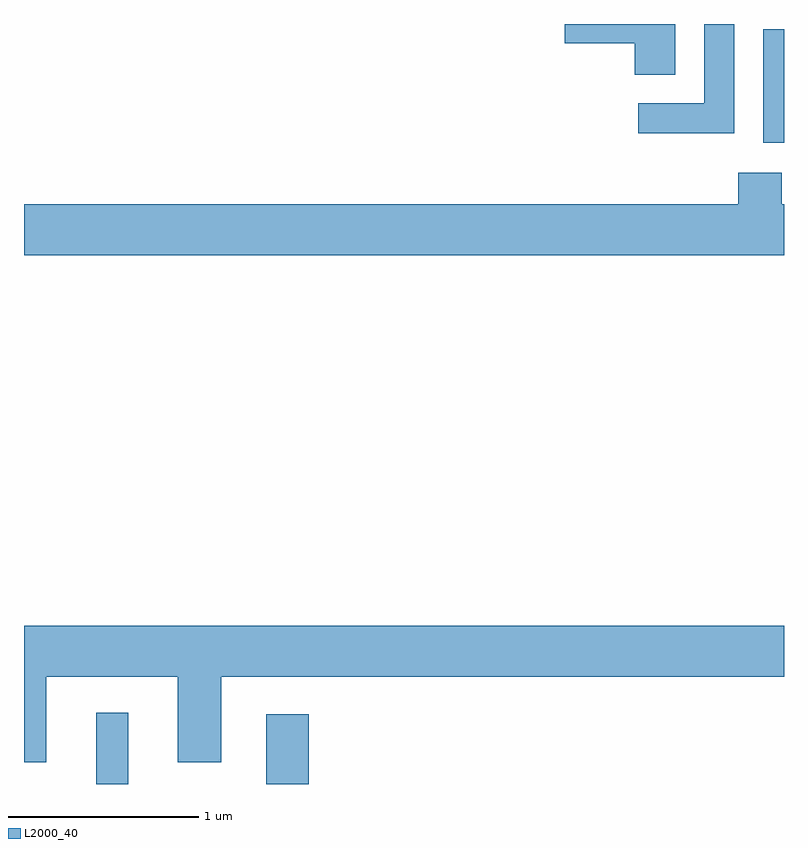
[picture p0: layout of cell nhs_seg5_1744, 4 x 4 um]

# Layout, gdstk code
import gdstk
lib = gdstk.Library(unit=1e-6, precision=1e-09)
def R(c, l, rs):  # rectangles x0, y0, x1, y1
    for r in rs: c.add(gdstk.rectangle(r[:2], r[2:], *l))
def P(c, l, *ps):  # polygons
    for p in ps: c.add(gdstk.Polygon(p, *l))
L2000_40 = (2000, 40)

nhs_seg5_1744 = lib.new_cell('nhs_seg5_1744')
R(nhs_seg5_1744, L2000_40, [(237.991,1394.072,238.159,1394.448), (238.886,1394.072,239.109,1394.439), (241.501,1397.446,241.611,1398.044)])
P(nhs_seg5_1744, L2000_40, [(241.349,1398.072),(241.191,1398.072),(241.191,1397.654),(240.843,1397.654),(240.843,1397.496),(241.349,1397.496)],
  [(241.039,1398.072),(240.456,1398.072),(240.456,1397.971),(240.826,1397.971),(240.826,1397.806),(241.039,1397.806)],
  [(241.611,1397.124),(241.599,1397.124),(241.599,1397.289),(241.371,1397.289),(241.371,1397.124),(237.611,1397.124),(237.611,1396.856),(241.611,1396.856)],
  [(237.729,1394.636),(238.421,1394.636),(238.421,1394.186),(238.649,1394.186),(238.649,1394.636),(241.611,1394.636),(241.611,1394.904),(237.611,1394.904),(237.611,1394.186),(237.729,1394.186)])

lib.write_gds('nhs_seg5_1744.gds')
